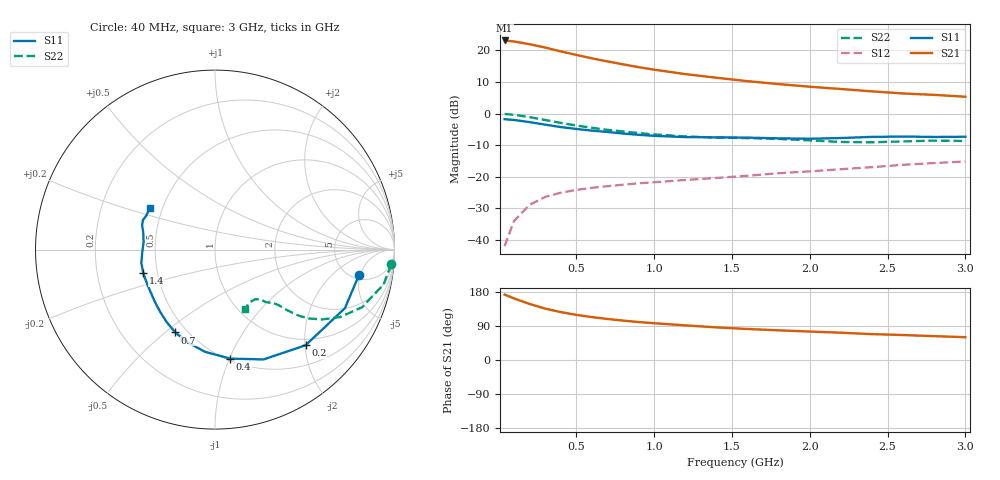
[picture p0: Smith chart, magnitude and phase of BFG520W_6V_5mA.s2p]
! Filename:  BFG520WH.S2P  Version:  4.0
! Philips part #: BFG520  Date: Jun 1994
! Bias condition: Vce=6.0V, Ic=5.0mA
! IN LINE PINNING: same data as with cross emitter pinning.
#  MHz  S  MA  R  50
! Freq  S11  S21  S12  S22  !GUM [dB]
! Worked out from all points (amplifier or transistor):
!   21 points, 40 MHz to 3 GHz, reference 50 ohm
!   highest |S21| = 23.1 dB at 40 MHz (marker M1)
!   |S21| within 3 dB of that: start of sweep to 363.2 MHz
!   unconditionally stable (mu >= 1): 1.546 GHz to end of sweep
!   at 300 MHz: K = 0.27, MSG = 23.6 dB, |S12| = -26.4 dB
!   at 1 GHz: K = 0.79, MSG = 17.8 dB, |S12| = -21.7 dB
!   at 3 GHz: K = 1.14, MAG = 8.0 dB, |S12| = -15.1 dB
!   S11 on the Smith chart (normalised r, x): 40 MHz: 5.74, -4.79; 200 MHz: 0.87, -2.01; 400 MHz: 0.52, -1.01; 700 MHz: 0.43, -0.54; 1.4 GHz: 0.42, -0.13; 3 GHz: 0.43, +0.25
40  0.815 -9.9  14.35 172.6  0.008 84.3  0.986 -4.8
100  0.794 -24.3  13.83 162.6  0.02 78.0  0.959 -11.7
200  0.734 -46.6  12.53 147.9  0.036 67.8  0.88 -21.4
300  0.669 -66.2  11.1 135.7  0.048 60.8  0.792 -28.3
400  0.613 -82.1  9.649 126.5  0.056 56.6  0.713 -33.1
500  0.572 -95.7  8.48 119.2  0.062 53.8  0.648 -36.3
600  0.538 -106.6  7.495 113.2  0.067 52.4  0.596 -38.2
700  0.512 -115.7  6.695 108.3  0.071 51.5  0.553 -39.3
800  0.484 -124.0  6.017 104.0  0.075 52.0  0.522 -40.1
900  0.462 -131.5  5.427 100.2  0.079 52.6  0.492 -40.6
1000  0.445 -138.5  4.954 97.1  0.082 53.6  0.469 -41.2
1200  0.425 -151.6  4.213 91.4  0.089 55.4  0.435 -42.8
1400  0.421 -161.8  3.692 86.1  0.096 57.1  0.418 -44.8
1600  0.417 -169.7  3.258 81.8  0.104 60.1  0.409 -45.8
1800  0.406 -177.5  2.93 78.3  0.114 61.5  0.398 -46.4
2000  0.4 174.2  2.661 75.1  0.122 63.6  0.377 -47.4
2200  0.411 166.6  2.449 72.0  0.132 64.6  0.356 -50.9
2400  0.428 161.5  2.246 68.3  0.142 67.0  0.352 -56.3
2600  0.434 157.8  2.082 65.9  0.155 68.5  0.363 -60.8
2800  0.427 153.3  1.978 62.9  0.165 68.8  0.374 -62.4
3000  0.431 147.1  1.848 60.2  0.175 70.0  0.368 -63.4
